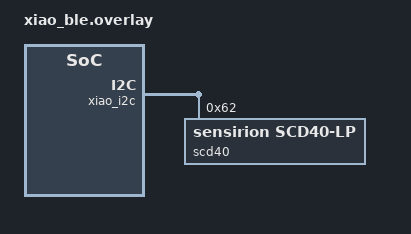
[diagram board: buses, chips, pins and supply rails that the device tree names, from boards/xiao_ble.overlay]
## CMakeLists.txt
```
# SPDX-License-Identifier: Apache-2.0

cmake_minimum_required(VERSION 3.20.0)
find_package(Zephyr REQUIRED HINTS $ENV{ZEPHYR_BASE})
project(kuuki_pod)

target_sources(app PRIVATE src/main.c)
```

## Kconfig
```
# kuuki-pod firmware project parameters (ticket 14b).
#
# SPDX-License-Identifier: Apache-2.0
#
# The Pod's product decisions — how often a Measurement is promoted to a Sample,
# and how far back the Buffer keeps Samples — live here, on the configuration
# surface, not inside the modules that happen to use them. The ring Buffer is
# handed a plain capacity derived from these (see src/app_config.h) and knows
# nothing about either.

menu "kuuki-pod"

config KUUKI_SAMPLE_INTERVAL_SEC
	int "Sample tick interval, seconds"
	default 900
	range 1 86400
	help
	  The Sample tick cadence: the Pod promotes one of the SCD40's
	  Measurements to a Sample this often. 900 (15 minutes) is the v1
	  cadence the webapp's Merge snaps slots to (CONTEXT.md), so changing it
	  changes what a slot means on the wire. The Buffer is resized to still
	  span KUUKI_RETENTION_SEC, which this must divide evenly — a build with
	  a leftover fails on a BUILD_ASSERT rather than quietly spanning less.

config KUUKI_RETENTION_SEC
	int "Buffer retention target, seconds"
	default 2592000
	range 1 31536000
	help
	  How far back the in-RAM Buffer keeps Samples before overwriting its
	  oldest. 2592000 (30 days) is the v1 target. Must be a whole number of
	  Sample intervals; the resulting ring costs 12 bytes of RAM per Sample,
	  paid once — a Sync streams straight out of the ring, with no second
	  copy of it.

endmenu

source "Kconfig.zephyr"
```

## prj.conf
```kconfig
# kuuki-pod application configuration (on-target build for xiao_ble).

CONFIG_LOG=y

# SCD40 sampling (ticket 05): I²C bus + the Sensirion SCD4x sensor driver.
# CONFIG_SCD4X defaults on once the devicetree has an enabled sensirion,scd40
# node (see boards/xiao_ble.overlay); enable the sensor subsystem it needs.
CONFIG_I2C=y
CONFIG_SENSOR=y

# The sampler runs a dedicated thread and names it for debugging.
CONFIG_THREAD_NAME=y
```

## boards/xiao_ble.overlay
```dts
/* SPDX-License-Identifier: Apache-2.0
 *
 * kuuki-pod hardware: an SCD40 wired to the XIAO's external I²C bus (xiao_i2c =
 * i2c1, pins D4/D5 = P0.04/P0.05). The sensor lives at the SCD4x's fixed I²C
 * address 0x62 and runs in low-power periodic mode (~30 s Measurement cadence),
 * per the v1 spec (ticket 05). ASC stays on and the temperature offset at its
 * default (ADR-0003) by omission: the SCD4x driver's init writes neither (they
 * are only touched via attr_set, which the firmware never calls), so the sensor
 * keeps its power-on defaults — ASC enabled, default offset.
 */

&xiao_i2c {
	status = "okay";

	scd40: scd40@62 {
		/* sensirion,scd40-lp (first) sources the properties and adds the
		 * `mode` selector the upstream binding lacks; sensirion,scd40
		 * (second) is what the SCD4x driver binds to. See the local
		 * binding dts/bindings/sensor/sensirion,scd40-lp.yaml. */
		compatible = "sensirion,scd40-lp", "sensirion,scd40";
		reg = <0x62>;
		mode = <1>; /* low-power periodic */
	};
};
```

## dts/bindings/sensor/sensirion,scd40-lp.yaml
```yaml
# SPDX-License-Identifier: Apache-2.0
#
# Supplementary binding for the SCD40. The upstream sensirion,scd40 binding
# omits the `mode` selector that its sibling sensirion,scd41 declares, even
# though the shared SCD4x driver reads `mode` for both (via DT_INST_ENUM_IDX_OR)
# — so upstream you can never select low-power periodic mode on an SCD40.
#
# We can't redeclare `sensirion,scd40` (edtlib forbids two i2c bindings for the
# same compatible), so the node lists this compatible *first* to source its
# properties (adding `mode`) and keeps `sensirion,scd40` so the driver still
# binds. Values match the driver's enum order.

description: Sensirion SCD40 with a selectable measurement mode (kuuki-pod local).

compatible: "sensirion,scd40-lp"

include: [sensor-device.yaml, i2c-device.yaml]

properties:
  mode:
    type: int
    required: true
    description: |
      - 0: Normal periodic measurement (~5 s Measurement cadence).
      - 1: Low-power periodic measurement (~30 s Measurement cadence).
      - 2: Single-shot measurement.
    enum:
      - 0
      - 1
      - 2
```

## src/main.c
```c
/*
 * kuuki-pod firmware — application entry point.
 *
 * SPDX-License-Identifier: Apache-2.0
 *
 * Boots the board, brings up BLE, and starts sampling: the Pod advertises its
 * open GATT service (Pod ID + Live reading, ticket 06) and logs the SCD40 into
 * the in-RAM Buffer at each Sample tick (ticket 05). The correctness-critical
 * logic (the Buffer's frozen iteration, the Sync record selection, the
 * Measurement→Sample scaling, the Live reading packing) is developed off-board
 * as pure modules under tests/, run on the host via native_sim. The Sample
 * interval and the Buffer's size are project parameters this layer owns
 * (app_config.h, ticket 14b) and passes down.
 */

#include <zephyr/kernel.h>
#include <zephyr/logging/log.h>

#include "app_config.h"
#include "ble.h"
#include "buffer.h"
#include "pod_id.h"
#include "sampler.h"

LOG_MODULE_REGISTER(kuuki_pod, LOG_LEVEL_INF);

/*
 * The Pod's single long-lived Buffer and the storage it rings over. The
 * application owns the array — its size is the retention decision (~30 days at
 * the configured Sample interval, ~34 KB), which is why it is derived here from
 * the project parameters and handed to the ring rather than baked into it.
 * Static (not on a stack): sampling fills it and Sync reads it for the lifetime
 * of the Pod. RAM-only by design — a reset costs at most the unsynced tail
 * (CONTEXT.md).
 *
 * It is the Retention target *plus* the Buffer's runway: the runway's slots are
 * reserved for the lock-free Sync reader (ADR-0005) and are not retention, so
 * paying 48 bytes for them keeps the ~30-day promise intact.
 */
static struct sample sample_storage[KUUKI_RETENTION_SAMPLES + BUFFER_RUNWAY];
static struct buffer sample_buffer;

/* The Buffer's precondition, checked where the ring is actually sized. It holds
 * transitively today (the Kconfig range forbids a zero-Sample retention target),
 * but a ring no longer than the runway has no live Samples at all and no runtime
 * check would catch it (ADR-0005). */
BUILD_ASSERT(ARRAY_SIZE(sample_storage) > BUFFER_RUNWAY,
	     "The Buffer's storage must be longer than its runway");

int main(void)
{
	LOG_INF("kuuki-pod booting");

	buffer_init(&sample_buffer, sample_storage, ARRAY_SIZE(sample_storage));

	/* Mint-or-load the Pod ID before BLE: the GATT service serves it. A
	 * failure here would advertise an unstable identity, so bail out. */
	int err = pod_id_init();
	if (err) {
		LOG_ERR("Pod ID init failed (%d); not advertising", err);
		return 0;
	}

	err = ble_start(&sample_buffer);
	if (err) {
		LOG_ERR("BLE failed to start (%d)", err);
	}

	err = sampler_start(&sample_buffer, CONFIG_KUUKI_SAMPLE_INTERVAL_SEC);
	if (err) {
		LOG_ERR("Sampler failed to start (%d)", err);
	}

	return 0;
}
```

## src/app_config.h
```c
/*
 * The Retention target in Samples, derived from the firmware's project parameters.
 *
 * SPDX-License-Identifier: Apache-2.0
 *
 * The Sample tick cadence and the Buffer's retention target are product
 * decisions, configured in Kconfig (see ../Kconfig) as
 * CONFIG_KUUKI_SAMPLE_INTERVAL_SEC and CONFIG_KUUKI_RETENTION_SEC. This header
 * is the one place the Retention target is turned into a Sample count, and the
 * application layer is the only layer that reads it: main.c sizes the Buffer's
 * backing array from it (plus the ring's runway), while the modules below it
 * take the interval and the ring's capacity as parameters (CONTEXT.md's Sample
 * tick and Buffer). The tick also has to keep the lock-free Buffer's safety
 * margin intact, which is the second assertion below.
 */

#ifndef KUUKI_APP_CONFIG_H
#define KUUKI_APP_CONFIG_H

#include <zephyr/toolchain.h>

#include "buffer.h"

/*
 * How many Samples the Retention target spans, *derived* from the configured
 * parameters — never a hard-coded Sample count. Changing the Sample interval
 * resizes the ring so it still spans the target. Deliberately not the ring's
 * capacity: the backing array is this plus BUFFER_RUNWAY, whose slots are
 * reserved for the lock-free Sync reader and are not retention.
 */
#define KUUKI_RETENTION_SAMPLES \
	(CONFIG_KUUKI_RETENTION_SEC / CONFIG_KUUKI_SAMPLE_INTERVAL_SEC)

/* An interval that does not divide the retention target would leave the ring
 * spanning less time than configured — the derivation quietly floors. */
BUILD_ASSERT(CONFIG_KUUKI_RETENTION_SEC % CONFIG_KUUKI_SAMPLE_INTERVAL_SEC == 0,
	     "Retention target must be a whole number of Sample intervals");

/* A Sync reads the ring lock-free behind BUFFER_RUNWAY reserved slots, which
 * buys `runway × Sample interval` of tolerance for a stalled consumer; a stalled
 * BLE link is torn down by the supervision timeout, whose Bluetooth Core-spec
 * ceiling is 32 s. Nothing checks the margin at runtime — by design, since it is
 * unreachable at any sane cadence (ADR-0005) — but the Kconfig range permits
 * ticks short enough to collapse it, and a short tick paired with a shortened
 * retention target is a plausible bench build. Hold the budget at 10x the
 * ceiling, which the v1 cadence clears by 11x. */
BUILD_ASSERT(BUFFER_RUNWAY * CONFIG_KUUKI_SAMPLE_INTERVAL_SEC >= 10 * 32,
	     "Sample tick too short: the Buffer runway's stall budget must stay "
	     "10x above the 32 s BLE supervision-timeout ceiling (ADR-0005)");

#endif /* KUUKI_APP_CONFIG_H */
```

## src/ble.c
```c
/*
 * BLE advertising + custom GATT service — implementation.
 *
 * SPDX-License-Identifier: Apache-2.0
 *
 * See ble.h for the contract. This is the hardware-facing seam: the Bluetooth
 * stack, GATT attribute plumbing, and advertising live here and are verified on
 * device with a generic BLE client. The correctness-critical byte packing is
 * delegated to live_encode() (host-tested); nothing subtle lives on this side.
 */

#include <string.h>

#include <zephyr/bluetooth/att.h>
#include <zephyr/bluetooth/bluetooth.h>
#include <zephyr/bluetooth/conn.h>
#include <zephyr/bluetooth/gatt.h>
#include <zephyr/bluetooth/uuid.h>
#include <zephyr/kernel.h>
#include <zephyr/logging/log.h>
#include <zephyr/sys/byteorder.h>
#include <zephyr/sys/util.h>

#include "ble.h"
#include "buffer.h"
#include "live.h"
#include "pod_id.h"
#include "sync.h"

LOG_MODULE_REGISTER(ble, LOG_LEVEL_INF);

/*
 * Custom 128-bit UUIDs. The base spells "kuuki-pod" in ASCII (4b 75 75 6b =
 * "Kuuk", 69 2d = "i-", 70 6f = "po", 64 = "d") so it is recognisable in a
 * generic client; the trailing 16-bit field selects the service and each
 * characteristic. 0x0004 is the Sync control (client writes its High-water mark
 * to begin a Sync); 0x0005 is the Sync data stream (records notified back).
 */
#define KUUKI_SVC_UUID_VAL \
	BT_UUID_128_ENCODE(0x4b75756b, 0x692d, 0x706f, 0x6400, 0x000000000001)
#define KUUKI_POD_ID_UUID_VAL \
	BT_UUID_128_ENCODE(0x4b75756b, 0x692d, 0x706f, 0x6400, 0x000000000002)
#define KUUKI_LIVE_UUID_VAL \
	BT_UUID_128_ENCODE(0x4b75756b, 0x692d, 0x706f, 0x6400, 0x000000000003)
#define KUUKI_SYNC_CTRL_UUID_VAL \
	BT_UUID_128_ENCODE(0x4b75756b, 0x692d, 0x706f, 0x6400, 0x000000000004)
#define KUUKI_SYNC_DATA_UUID_VAL \
	BT_UUID_128_ENCODE(0x4b75756b, 0x692d, 0x706f, 0x6400, 0x000000000005)

static const struct bt_uuid_128 kuuki_svc_uuid = BT_UUID_INIT_128(KUUKI_SVC_UUID_VAL);
static const struct bt_uuid_128 pod_id_uuid = BT_UUID_INIT_128(KUUKI_POD_ID_UUID_VAL);
static const struct bt_uuid_128 live_uuid = BT_UUID_INIT_128(KUUKI_LIVE_UUID_VAL);
static const struct bt_uuid_128 sync_ctrl_uuid = BT_UUID_INIT_128(KUUKI_SYNC_CTRL_UUID_VAL);
static const struct bt_uuid_128 sync_data_uuid = BT_UUID_INIT_128(KUUKI_SYNC_DATA_UUID_VAL);

/* The most recent Live reading, kept encoded and ready to serve on a read or
 * notify. Seeded all-zero until the first Measurement is published: co2 == 0 is
 * the wire contract's "no Measurement yet" sentinel, so a client that reads in
 * the ~30 s before the first Measurement sees "not available" rather than a
 * bogus 0-ppm reading (docs/wire-contract.md, Live reading characteristic). */
static uint8_t live_value[LIVE_READING_SIZE];

/* Whether a client has subscribed to Live reading notifications. */
static bool live_notify_enabled;

/*
 * Sync (ticket 07) state. The Buffer is borrowed from the application for the
 * Pod's lifetime and read lock-free: a Sync freezes the ring's write head once
 * and walks what was there, behind the runway that keeps the sampler off the
 * reader's slot (ADR-0005).
 */
static struct buffer *sync_buffer;

/* Whether a client has subscribed to Sync data notifications. */
static bool sync_notify_enabled;

/*
 * The pending Sync's High-water mark, published by the Sync control write and
 * consumed by the sync thread. Unlocked: one aligned 32-bit word has nothing to
 * tear, and the semaphore below orders the handoff — the compiler can neither
 * sink the store past k_sem_give() nor hoist the load above k_sem_take(), and
 * on this single core the compiler is the only reordering adversary (ADR-0005).
 * A second control write racing the consumer simply wins, and a client Syncs
 * one batch at a time anyway.
 */
static uint32_t sync_mark;

/* Signals the sync thread that a Sync control write is pending. */
static K_SEM_DEFINE(sync_pending, 0, 1);

/*
 * The one active connection (CONFIG_BT_MAX_CONN == 1), ref-held between connect
 * and disconnect. The sync thread needs it for the negotiated MTU and as the
 * notify target; tracking it lets a mid-Sync disconnect abort the stream.
 */
static struct bt_conn *active_conn;

/*
 * Payload for one Sync notification, owned solely by the sync thread. Records
 * are encoded into it straight off the Buffer iterator — there is no scratch
 * copy of the batch. Static, not on the thread stack; sized for the largest
 * configured notification so a runtime MTU (never larger) always fits.
 */
static uint8_t ntf_payload[CONFIG_BT_L2CAP_TX_MTU - ATT_NTF_OVERHEAD];

static ssize_t read_pod_id(struct bt_conn *conn, const struct bt_gatt_attr *attr,
			   void *buf, uint16_t len, uint16_t offset)
{
	uint8_t id[POD_ID_LEN];

	pod_id_get(id);
	return bt_gatt_attr_read(conn, attr, buf, len, offset, id, sizeof(id));
}

static ssize_t read_live(struct bt_conn *conn, const struct bt_gatt_attr *attr,
			 void *buf, uint16_t len, uint16_t offset)
{
	return bt_gatt_attr_read(conn, attr, buf, len, offset, live_value,
				 sizeof(live_value));
}

static void live_ccc_changed(const struct bt_gatt_attr *attr, uint16_t value)
{
	live_notify_enabled = (value == BT_GATT_CCC_NOTIFY);
	LOG_INF("Live reading notifications %s",
		live_notify_enabled ? "enabled" : "disabled");
}

/*
 * A client begins a Sync by writing its High-water mark (a 4-byte Age, or the
 * sentinel) to the Sync control characteristic. We publish the mark and wake the
 * sync thread, which freezes the batch, latches its read instant and streams it
 * straight out of the ring. The write returns immediately; the potentially long
 * notify stream runs off this thread.
 */
static ssize_t write_sync_control(struct bt_conn *conn, const struct bt_gatt_attr *attr,
				  const void *buf, uint16_t len, uint16_t offset,
				  uint8_t flags)
{
	ARG_UNUSED(conn);
	ARG_UNUSED(attr);
	ARG_UNUSED(flags);

	if (offset != 0) {
		return BT_GATT_ERR(BT_ATT_ERR_INVALID_OFFSET);
	}
	if (len != sizeof(uint32_t)) {
		return BT_GATT_ERR(BT_ATT_ERR_INVALID_ATTRIBUTE_LEN);
	}

	sync_mark = sys_get_le32(buf);

	k_sem_give(&sync_pending);

	return len;
}

static void sync_ccc_changed(const struct bt_gatt_attr *attr, uint16_t value)
{
	ARG_UNUSED(attr);

	sync_notify_enabled = (value == BT_GATT_CCC_NOTIFY);
	LOG_INF("Sync data notifications %s",
		sync_notify_enabled ? "enabled" : "disabled");
}

/*
 * The single custom service. Attribute order is fixed by this macro. Two value
 * attributes are referenced by handle for bt_gatt_notify():
 *   [0] service        [1] Pod ID decl    [2] Pod ID value
 *   [3] Live decl      [4] Live value     [5] Live CCC
 *   [6] Sync ctrl decl [7] Sync ctrl val  [8] Sync data decl
 *   [9] Sync data val  [10] Sync data CCC
 * Live value is index 4, Sync data value is index 9.
 */
BT_GATT_SERVICE_DEFINE(kuuki_svc,
	BT_GATT_PRIMARY_SERVICE(&kuuki_svc_uuid),
	BT_GATT_CHARACTERISTIC(&pod_id_uuid.uuid, BT_GATT_CHRC_READ,
			       BT_GATT_PERM_READ, read_pod_id, NULL, NULL),
	BT_GATT_CHARACTERISTIC(&live_uuid.uuid,
			       BT_GATT_CHRC_READ | BT_GATT_CHRC_NOTIFY,
			       BT_GATT_PERM_READ, read_live, NULL, NULL),
	BT_GATT_CCC(live_ccc_changed, BT_GATT_PERM_READ | BT_GATT_PERM_WRITE),
	BT_GATT_CHARACTERISTIC(&sync_ctrl_uuid.uuid, BT_GATT_CHRC_WRITE,
			       BT_GATT_PERM_WRITE, NULL, write_sync_control, NULL),
	BT_GATT_CHARACTERISTIC(&sync_data_uuid.uuid, BT_GATT_CHRC_NOTIFY,
			       BT_GATT_PERM_NONE, NULL, NULL, NULL),
	BT_GATT_CCC(sync_ccc_changed, BT_GATT_PERM_READ | BT_GATT_PERM_WRITE),
);

#define LIVE_VALUE_ATTR (&kuuki_svc.attrs[4])
#define SYNC_DATA_VALUE_ATTR (&kuuki_svc.attrs[9])

/* Name in the advertising data; the 128-bit service UUID (16 bytes) goes in the
 * scan response, where it fits alongside without crowding the 31-byte AD. */
static const struct bt_data ad[] = {
	BT_DATA_BYTES(BT_DATA_FLAGS, (BT_LE_AD_GENERAL | BT_LE_AD_NO_BREDR)),
	BT_DATA(BT_DATA_NAME_COMPLETE, CONFIG_BT_DEVICE_NAME,
		sizeof(CONFIG_BT_DEVICE_NAME) - 1),
};

static const struct bt_data sd[] = {
	BT_DATA_BYTES(BT_DATA_UUID128_ALL, KUUKI_SVC_UUID_VAL),
};

/*
 * Connectable advertising at the slow interval (1.28–1.92 s): the Pod is always
 * reachable but sips power between adverts, matching the overnight-glance use
 * case. Open — no bonding, no privacy (v1 GATT is open, per the spec).
 */
static const struct bt_le_adv_param adv_param = BT_LE_ADV_PARAM_INIT(
	BT_LE_ADV_OPT_CONN, BT_GAP_ADV_SLOW_INT_MIN, BT_GAP_ADV_SLOW_INT_MAX, NULL);

static int start_advertising(void)
{
	return bt_le_adv_start(&adv_param, ad, ARRAY_SIZE(ad), sd, ARRAY_SIZE(sd));
}

static void advertise_work_handler(struct k_work *work)
{
	ARG_UNUSED(work);

	int err = start_advertising();
	if (err) {
		LOG_ERR("Advertising failed to resume (%d)", err);
	}
}

static K_WORK_DEFINE(advertise_work, advertise_work_handler);

/*
 * Connectable advertising stops the instant a client connects, so on disconnect
 * we restart it — otherwise the Pod goes silent after its first Sync and is
 * never reachable again. This is what keeps it "connectable any time" (ticket
 * 06) across repeated visits from one or several clients.
 *
 * The restart is deferred to the system workqueue rather than run inline: the
 * disconnected connection object is not recycled until this callback returns, so
 * starting a connectable advertiser here races it and fails with -ENOMEM.
 */
static void on_disconnected(struct bt_conn *conn, uint8_t reason)
{
	/* Drop our reference so a sync thread that snapshotted the connection
	 * sees it go away and aborts a mid-Sync stream (which the next Sync's
	 * advanced High-water mark re-fetches, ADR-0002). */
	if (active_conn == conn) {
		bt_conn_unref(active_conn);
		active_conn = NULL;
	}

	LOG_INF("Disconnected (reason 0x%02x); resuming advertising", reason);
	k_work_submit(&advertise_work);
}

static void on_connected(struct bt_conn *conn, uint8_t err)
{
	if (err) {
		LOG_WRN("Connection failed (0x%02x)", err);
		return;
	}

	active_conn = bt_conn_ref(conn);
	LOG_INF("Connected");
}

BT_CONN_CB_DEFINE(conn_callbacks) = {
	.connected = on_connected,
	.disconnected = on_disconnected,
};

#define SYNC_STACK_SIZE 2048
#define SYNC_PRIORITY   7

static K_THREAD_STACK_DEFINE(sync_stack, SYNC_STACK_SIZE);
static struct k_thread sync_thread;

/*
 * Send one Sync data notification, blocking until the stack accepts it. GATT TX
 * buffers are a small pool, so a burst of notifications transiently exhausts it
 * (-ENOMEM); we back off and retry rather than drop records. Any other error —
 * notably the connection dropping — ends the stream: the batch is left
 * unterminated (no end-of-batch marker), which is exactly the client's
 * "incomplete Sync" signal (docs/wire-contract.md). len == 0 sends the
 * end-of-batch marker itself.
 */
static int sync_notify(struct bt_conn *conn, const void *data, uint16_t len)
{
	int err;

	while ((err = bt_gatt_notify(conn, SYNC_DATA_VALUE_ATTR, data, len)) == -ENOMEM) {
		k_sleep(K_MSEC(10));
	}
	return err;
}

/*
 * Send the `packed` records sitting in ntf_payload as one notification and add
 * them to *sent. Returns false if the stream died: the batch is then left
 * unterminated, which is exactly the client's "incomplete Sync" signal.
 */
static bool flush_records(struct bt_conn *conn, size_t packed, size_t *sent)
{
	if (sync_notify(conn, ntf_payload, packed * RECORD_SIZE)) {
		LOG_WRN("Sync stream interrupted after %zu records; "
			"next Sync self-heals", *sent);
		return false;
	}

	*sent += packed;
	return true;
}

/*
 * Drain a Sync into notifications and stream them oldest-first over conn,
 * packing as many whole records per notification as the negotiated MTU allows,
 * then send the zero-length end-of-batch marker. The iterator may yield nothing
 * — an up-to-date client gets only the marker (a valid, empty Sync). Which
 * records it yields is entirely sync_iter's business; this only chunks them.
 */
static void stream_batch(struct bt_conn *conn, struct sync_iter *records)
{
	uint16_t mtu = bt_gatt_get_mtu(conn);
	size_t per_ntf = sync_records_per_notification(mtu);

	if (per_ntf == 0) {
		LOG_WRN("Negotiated MTU %u too small for a Sync record; aborting", mtu);
		return;
	}

	size_t sent = 0;
	size_t packed = 0;
	struct sync_record r;

	while (sync_iter_next(records, &r)) {
		sync_encode_record(&r, &ntf_payload[packed * RECORD_SIZE]);

		/* Only the last notification of a batch may be short. */
		if (++packed < per_ntf) {
			continue;
		}
		if (!flush_records(conn, packed, &sent)) {
			return;
		}
		packed = 0;
	}

	if (packed > 0 && !flush_records(conn, packed, &sent)) {
		return;
	}

	if (sync_notify(conn, ntf_payload, 0)) {
		LOG_WRN("Sync end-of-batch marker not delivered; next Sync self-heals");
		return;
	}

	LOG_INF("Sync complete: %zu records streamed", sent);
}

static void sync_thread_run(void *p1, void *p2, void *p3)
{
	ARG_UNUSED(p1);
	ARG_UNUSED(p2);
	ARG_UNUSED(p3);

	for (;;) {
		k_sem_take(&sync_pending, K_FOREVER);

		if (!sync_notify_enabled) {
			LOG_WRN("Sync control written without subscribing to Sync "
				"data; nothing to stream to");
			continue;
		}

		/* Take our own reference to the connection under the scheduler
		 * lock, so the disconnect callback cannot free it mid-grab; the
		 * ref then keeps the connection alive even if the link drops
		 * mid-stream. */
		k_sched_lock();
		struct bt_conn *conn = active_conn ? bt_conn_ref(active_conn) : NULL;
		k_sched_unlock();

		if (!conn) {
			continue;
		}

		/* Freeze the batch, then latch, then wrap up — in that order,
		 * which is why all three sit here rather than inside sync.c.
		 * buffer_iter_init() fixes which Samples this Sync contains with
		 * one acquire load; the monotonic clock read that follows is
		 * therefore at or after every capture time in the batch, so the
		 * unsigned Age subtraction cannot wrap. A Sample tick landing
		 * from here on is simply outside the frozen batch and lands in
		 * the next Sync. No lock is taken and none is needed: the
		 * runway keeps the sampler off the slot we are reading
		 * (ADR-0005). */
		struct buffer_iter frozen;
		buffer_iter_init(&frozen, sync_buffer);
		uint32_t latch_uptime = (uint32_t)(k_uptime_get() / 1000);
		struct sync_iter records;
		sync_iter_init(&records, &frozen, latch_uptime, sync_mark,
			       CONFIG_KUUKI_SAMPLE_INTERVAL_SEC);

		stream_batch(conn, &records);
		bt_conn_unref(conn);
	}
}

void ble_live_update(const struct sample *s)
{
	live_encode(s, live_value);

	if (live_notify_enabled) {
		bt_gatt_notify(NULL, LIVE_VALUE_ATTR, live_value,
			       sizeof(live_value));
	}
}

int ble_start(struct buffer *buf)
{
	sync_buffer = buf;

	int err = bt_enable(NULL);
	if (err) {
		LOG_ERR("bt_enable failed (%d)", err);
		return err;
	}

	/* The sync thread streams a Sync off the BLE RX path: the Sync control
	 * write only publishes the mark and signals, so a long stream never
	 * blocks it. */
	k_thread_create(&sync_thread, sync_stack, SYNC_STACK_SIZE, sync_thread_run,
			NULL, NULL, NULL, SYNC_PRIORITY, 0, K_NO_WAIT);
	k_thread_name_set(&sync_thread, "ble_sync");

	err = start_advertising();
	if (err) {
		LOG_ERR("Advertising failed to start (%d)", err);
		return err;
	}

	LOG_INF("Advertising started; Pod is connectable");
	return 0;
}
```

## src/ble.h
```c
/*
 * The Pod's BLE presence: advertising + the single custom GATT service.
 *
 * SPDX-License-Identifier: Apache-2.0
 *
 * Ticket 06 makes the Pod discoverable and glanceable without a Sync: it
 * advertises continuously at a slow interval, is connectable at any time (open,
 * no bonding), and hosts one custom service exposing the stable Pod ID and the
 * Live reading (the most recent Measurement). The Sync control + Sync data
 * characteristics land on this same service in ticket 07. This is BLE plumbing —
 * hardware-verified, not host-tested; the pure byte packing it delegates to
 * (live_encode(), ticket 06) is the tested seam. Vocabulary (Pod ID, Live
 * reading, Sync) follows CONTEXT.md.
 */

#ifndef KUUKI_BLE_H
#define KUUKI_BLE_H

struct sample;
struct buffer;

/*
 * Bring up Bluetooth and start advertising the Pod's service. Requires the Pod
 * ID to be initialised first (pod_id_init()), since the service serves it.
 *
 * buf is the Pod's Buffer, streamed to a client on a Sync (ticket 07); it must
 * outlive the Pod (it is the application's single long-lived Buffer). No lock
 * comes with it: a Sync reads the ring lock-free behind its runway (ADR-0005).
 * Returns 0 once advertising is running, or a negative errno on failure.
 */
int ble_start(struct buffer *buf);

/*
 * Publish s as the current Live reading: update the readable characteristic
 * value and notify any subscribed client. Safe to call before a client connects
 * (the value is simply cached for the next read). Only the Measurement fields of
 * s are used; capture_uptime is ignored (a Live reading is always "now").
 */
void ble_live_update(const struct sample *s);

#endif /* KUUKI_BLE_H */
```

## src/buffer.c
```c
/*
 * In-RAM ring Buffer — implementation.
 *
 * SPDX-License-Identifier: Apache-2.0
 *
 * See buffer.h for the contract. Kept free of BLE/I²C so the whole module runs
 * under host ztests — including free of Zephyr and <stdatomic.h>: the two places
 * that need ordering use the compiler's __atomic builtins directly rather than
 * changing the write head's declared type, so both host suites keep compiling
 * this file straight into their binaries.
 */

#include "buffer.h"

void buffer_init(struct buffer *buf, struct sample *storage, size_t capacity)
{
	buf->samples = storage;
	buf->capacity = capacity;
	buf->written = 0;
}

void buffer_put(struct buffer *buf, const struct sample *s)
{
	buf->samples[buf->written % buf->capacity] = *s;

	/* Publish the slot with a release store: it pairs with the acquire load
	 * in buffer_iter_init(), and it is what stops the compiler sinking the
	 * write above past this increment, where a concurrent reader could see
	 * the count without the Sample (ADR-0005). Only this producer writes the
	 * head, so reading it plainly above is safe.
	 *
	 * The head only ever climbs: once it has come round onto the oldest
	 * Sample, the next put() overwrites it — the ring keeps the most
	 * recent `capacity`. */
	__atomic_store_n(&buf->written, buf->written + 1, __ATOMIC_RELEASE);
}

void buffer_iter_init(struct buffer_iter *it, const struct buffer *buf)
{
	/* The one atomic operation of the whole walk. Acquiring here is what
	 * makes every Sample below the frozen head fully visible. */
	uint32_t end = __atomic_load_n(&buf->written, __ATOMIC_ACQUIRE);

	/* Both positions derive from that one count, so they cannot disagree:
	 * the ring holds every write until it fills and its usable depth after,
	 * and the oldest live Sample sits that many writes behind the frozen
	 * head. Usable depth stops BUFFER_RUNWAY slots short of the head so the
	 * producer cannot reach the reader's slot before the walk ends. */
	size_t usable = buf->capacity - BUFFER_RUNWAY;
	size_t live = end < usable ? end : usable;

	it->buf = buf;
	it->next = end - (uint32_t)live;
	it->end = end;
}

bool buffer_iter_next(struct buffer_iter *it, struct sample *out)
{
	if (it->next == it->end) {
		return false;
	}

	*out = it->buf->samples[it->next % it->buf->capacity];
	it->next++;
	return true;
}
```

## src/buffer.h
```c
/*
 * In-RAM ring Buffer of Samples.
 *
 * SPDX-License-Identifier: Apache-2.0
 *
 * This is a correctness-critical, hardware-free module: no BLE, no I²C. The
 * Buffer holds the most recent Samples (overwriting the oldest on overflow) and
 * hands them back one at a time through an iterator that freezes the ring's end
 * at init, entirely as a function of its inputs, so the whole module is
 * exercised by host ztests (see tests/buffer/). It is a dumb ring: how many
 * Samples that is (a retention decision — see ../Kconfig and app_config.h),
 * which of them a given client still needs, and how they are framed on the wire
 * are all somebody else's business (see sync.h) — including their Age, which is
 * a property of a Sample as seen by one Sync, not of a buffered one. Vocabulary
 * (Sample, Buffer) follows CONTEXT.md.
 *
 * A Sample is published by the producer and read by one concurrent consumer
 * with no lock: the reader freezes the write head with a single acquire load and
 * then walks plain indices behind a reserved runway of slots the producer cannot
 * have reached. See docs/adr/0005-lock-free-buffer-with-runway.md — the runway
 * has no runtime partner to find, and deleting it as unused re-introduces a data
 * race no test will catch.
 */

#ifndef KUUKI_BUFFER_H
#define KUUKI_BUFFER_H

#include <stdbool.h>
#include <stddef.h>
#include <stdint.h>

/*
 * Physical slots the ring reserves ahead of the write head: the Samples an
 * iterator considers live stop this many slots short of it, so the producer
 * cannot overwrite a slot the reader has yet to reach. Owned by the Buffer
 * rather than passed in — it is a property of the lock-free mechanism, and no
 * caller has a basis on which to choose it. It buys `runway × Sample interval`
 * of consumer-stall tolerance; ADR-0005 derives the number and app_config.h
 * asserts the Pod's cadence keeps clearing it.
 */
#define BUFFER_RUNWAY 6

/*
 * One buffered Sample: a Measurement promoted at a Sample tick, plus the device
 * capture time needed to place it on a wall clock later. capture_uptime is the
 * Pod's monotonic uptime in seconds; the Pod has no notion of wall-clock time.
 */
struct sample {
	uint32_t capture_uptime; /* monotonic uptime at capture, seconds */
	uint16_t co2;            /* ppm */
	int16_t  temp;           /* centi-°C */
	uint16_t humidity;       /* centi-%RH */
};

/*
 * The in-RAM ring Buffer over `capacity` slots of caller-provided storage; once
 * full, buffer_put() overwrites the oldest Sample. Fields are internal — tests
 * must exercise behaviour through the functions below, never this layout.
 *
 * Its position is one monotonic count of Samples ever written — the write head
 * — never a write-index / stored-count pair, so the two can never disagree
 * about where the ring starts. The count is a fixed 32 bits rather than a
 * size_t so the ring behaves identically on the 32-bit device and in the host
 * test build; it wraps after 2^32 writes, which is over a century even if a
 * Sample were written every second.
 */
struct buffer {
	struct sample *samples; /* borrowed storage, `capacity` Samples long */
	size_t capacity;        /* slots in `samples`, > BUFFER_RUNWAY */
	uint32_t written;       /* Samples ever written — the write head */
};

/*
 * A frozen walk over the Samples the Buffer held at the moment it was created.
 * Fields are internal; drive it with buffer_iter_next().
 */
struct buffer_iter {
	const struct buffer *buf;
	uint32_t next; /* write-head position of the next Sample to yield */
	uint32_t end;  /* the write head, frozen at init */
};

/*
 * Reset a Buffer to empty over `capacity` Samples of caller-provided storage.
 *
 * The Buffer borrows `storage` for its whole lifetime — the application owns it
 * (main.c holds the Pod's single long-lived array) and sizes it from the
 * project's retention parameters plus BUFFER_RUNWAY, so the ring itself needs no
 * compile-time size and a test can pick its own.
 *
 * Precondition: capacity > BUFFER_RUNWAY. A ring no longer than the runway has
 * no live Samples at all.
 */
void buffer_init(struct buffer *buf, struct sample *storage, size_t capacity);

/* Append a Sample, overwriting the oldest one when the ring is full. */
void buffer_put(struct buffer *buf, const struct sample *s);

/*
 * Freeze the Buffer's end and start walking what it holds, oldest-first.
 *
 * The write head is read once, here; every subsequent step is plain indexing
 * against that fixed bound, so a Sample put after this call is never yielded and
 * the batch cannot grow under the reader mid-walk. That is also what lets a
 * caller read its Latched read instant *after* this call and know no Sample in
 * the walk was captured later (sync.h).
 *
 * The walk covers at most `capacity − BUFFER_RUNWAY` Samples: the runway's slots
 * behind the write head are given up so the producer cannot catch the reader.
 */
void buffer_iter_init(struct buffer_iter *it, const struct buffer *buf);

/*
 * Copy the next Sample into *out and advance, or return false when the frozen
 * walk is exhausted (*out untouched).
 */
bool buffer_iter_next(struct buffer_iter *it, struct sample *out);

#endif /* KUUKI_BUFFER_H */
```

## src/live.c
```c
/*
 * Live reading encoding — implementation.
 *
 * SPDX-License-Identifier: Apache-2.0
 *
 * See live.h for the contract. Pure byte packing over a struct sample: no BLE,
 * no sensor subsystem, so the whole module runs under host ztests. Little-endian
 * to match docs/wire-contract.md and Web Bluetooth's natural DataView reads.
 */

#include <zephyr/sys/byteorder.h>

#include "live.h"

void live_encode(const struct sample *s, uint8_t out[LIVE_READING_SIZE])
{
	sys_put_le16(s->co2, &out[0]);
	sys_put_le16((uint16_t)s->temp, &out[2]);
	sys_put_le16(s->humidity, &out[4]);
}
```

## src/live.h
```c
/*
 * Encode a Measurement into the Live reading characteristic's bytes — the pure,
 * hardware-free seam behind the BLE Live reading (ticket 06).
 *
 * SPDX-License-Identifier: Apache-2.0
 *
 * The Live reading is the Pod's most recent Measurement (CO₂/temp/humidity),
 * exposed as its own BLE characteristic so a client sees "right now" the instant
 * it connects, without touching the Sync stream (CONTEXT.md). Its on-wire bytes
 * are the Sync record's three measurement fields, minus the Age — the "Live
 * reading characteristic" section of docs/wire-contract.md is the single source
 * of truth for their widths and little-endian order. This one place does that
 * packing, kept free of BLE so host ztests exercise it (see tests/live/).
 */

#ifndef KUUKI_LIVE_H
#define KUUKI_LIVE_H

#include <stdint.h>

#include "buffer.h"

/*
 * Live reading payload width, bytes: co2 (uint16) + temp (int16) + humidity
 * (uint16), packed back-to-back, no padding. The Sync record (RECORD_SIZE = 10)
 * minus its 4-byte age.
 */
#define LIVE_READING_SIZE 6

/*
 * Pack a Sample's Measurement fields into the Live reading's 6 bytes,
 * little-endian: co2 at offset 0, temp at 2, humidity at 4. capture_uptime is
 * not part of the Live reading (it carries no Age — it is always "now").
 */
void live_encode(const struct sample *s, uint8_t out[LIVE_READING_SIZE]);

#endif /* KUUKI_LIVE_H */
```

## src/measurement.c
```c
/*
 * Measurement → Sample scaling — implementation.
 *
 * SPDX-License-Identifier: Apache-2.0
 *
 * See measurement.h for the contract. Kept free of I²C and the sensor
 * subsystem (only the two int32 fields of struct sensor_value are read) so the
 * whole module runs under host ztests.
 */

#include <zephyr/drivers/sensor.h>

#include "measurement.h"

/* Saturating narrow of a scaled value into each Sample field's width, so an
 * out-of-range Measurement clamps rather than wrapping into a bogus reading. */
static uint16_t saturate_u16(int32_t v)
{
	if (v < 0) {
		return 0;
	}
	if (v > UINT16_MAX) {
		return UINT16_MAX;
	}
	return (uint16_t)v;
}

static int16_t saturate_i16(int32_t v)
{
	if (v < INT16_MIN) {
		return INT16_MIN;
	}
	if (v > INT16_MAX) {
		return INT16_MAX;
	}
	return (int16_t)v;
}

/* Scale a sensor_value (val1 whole units, val2 millionths) to hundredths.
 * Truncates toward zero; for a negative reading the driver makes both parts
 * negative, so the sign is preserved. */
static int32_t to_centi(const struct sensor_value *v)
{
	return v->val1 * 100 + v->val2 / 10000;
}

struct sample measurement_to_sample(uint32_t capture_uptime,
				    const struct sensor_value *co2,
				    const struct sensor_value *temp,
				    const struct sensor_value *humidity)
{
	return (struct sample){
		.capture_uptime = capture_uptime,
		.co2 = saturate_u16(co2->val1),
		.temp = saturate_i16(to_centi(temp)),
		.humidity = saturate_u16(to_centi(humidity)),
	};
}
```

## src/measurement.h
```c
/*
 * Promote an SCD40 Measurement to a stored Sample — the pure, hardware-free
 * scaling seam.
 *
 * SPDX-License-Identifier: Apache-2.0
 *
 * The SCD40 driver reports each channel as a struct sensor_value (val1 = whole
 * units, val2 = millionths). The Buffer stores each Sample in compact integer
 * units matching the Sync wire contract (docs/wire-contract.md): CO₂ in ppm,
 * temperature in centi-°C (signed), humidity in centi-%RH. This module is the
 * one place that conversion happens, kept free of I²C and the sensor subsystem
 * so it is exercised by host ztests (see tests/measurement/). Vocabulary
 * (Measurement, Sample) follows CONTEXT.md.
 */

#ifndef KUUKI_MEASUREMENT_H
#define KUUKI_MEASUREMENT_H

#include <stdint.h>

#include "buffer.h"

/* Forward declaration: only the two int32 fields of struct sensor_value are
 * used, so callers need not pull in the whole sensor subsystem here. */
struct sensor_value;

/*
 * Build one Sample from an SCD40 Measurement captured at capture_uptime
 * (monotonic uptime, seconds). Each channel is scaled to the Buffer's integer
 * units and saturated to its field width, so an out-of-range Measurement stores
 * a clamped Sample rather than a wrapped-around bogus value:
 *   co2      → ppm         (uint16, saturating)
 *   temp     → centi-°C    (int16, saturating; e.g. 21.43 °C → 2143)
 *   humidity → centi-%RH   (uint16, saturating)
 */
struct sample measurement_to_sample(uint32_t capture_uptime,
				    const struct sensor_value *co2,
				    const struct sensor_value *temp,
				    const struct sensor_value *humidity);

#endif /* KUUKI_MEASUREMENT_H */
```

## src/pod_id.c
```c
/*
 * Pod ID — implementation.
 *
 * SPDX-License-Identifier: Apache-2.0
 *
 * See pod_id.h for the contract. This is the hardware-facing seam (flash via the
 * settings subsystem, the hardware RNG), so — like the BLE plumbing — it is
 * verified on device, not under host ztests: "does it survive a reset unchanged"
 * is a property of real flash, not pure logic.
 *
 * The ID is stored under the settings key "kuuki/pod_id". On boot the caller
 * runs the settings load, which invokes pod_id_set() to restore a persisted ID;
 * pod_id_init() then mints one only if none was restored.
 */

#include <string.h>

#include <zephyr/kernel.h>
#include <zephyr/logging/log.h>
#include <zephyr/random/random.h>
#include <zephyr/settings/settings.h>

#include "pod_id.h"

LOG_MODULE_REGISTER(pod_id, LOG_LEVEL_INF);

#define POD_ID_SETTINGS_KEY "kuuki/pod_id"

static uint8_t pod_id[POD_ID_LEN];
static bool loaded; /* set once a valid ID is restored from flash or minted */

/* settings h_set: restore the persisted ID when settings_load walks "kuuki". */
static int pod_id_set(const char *name, size_t len, settings_read_cb read_cb,
		      void *cb_arg)
{
	if (!settings_name_steq(name, "pod_id", NULL)) {
		return -ENOENT;
	}

	if (len != POD_ID_LEN) {
		/* A stored ID of the wrong width is corrupt; ignore it so
		 * pod_id_init() mints a fresh one rather than serve garbage. */
		LOG_WRN("Stored Pod ID has wrong length (%u); reminting", len);
		return -EINVAL;
	}

	ssize_t rc = read_cb(cb_arg, pod_id, POD_ID_LEN);
	if (rc < 0) {
		return (int)rc;
	}

	loaded = true;
	return 0;
}

SETTINGS_STATIC_HANDLER_DEFINE(pod_id, "kuuki", NULL, pod_id_set, NULL, NULL);

int pod_id_init(void)
{
	int err = settings_subsys_init();
	if (err) {
		LOG_ERR("settings_subsys_init failed (%d)", err);
		return err;
	}

	/* Restores a persisted ID via pod_id_set() if one exists. */
	err = settings_load_subtree("kuuki");
	if (err) {
		LOG_ERR("settings_load_subtree failed (%d)", err);
		return err;
	}

	if (loaded) {
		LOG_INF("Pod ID loaded from flash");
		return 0;
	}

	/* First boot (or reminting after a corrupt store): mint and persist. */
	sys_rand_get(pod_id, POD_ID_LEN);
	loaded = true;

	err = settings_save_one(POD_ID_SETTINGS_KEY, pod_id, POD_ID_LEN);
	if (err) {
		LOG_ERR("Failed to persist minted Pod ID (%d)", err);
		return err;
	}

	LOG_INF("Pod ID minted and persisted");
	return 0;
}

void pod_id_get(uint8_t out[POD_ID_LEN])
{
	memcpy(out, pod_id, POD_ID_LEN);
}
```

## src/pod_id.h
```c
/*
 * Pod ID — a stable random identifier minted once and persisted in flash.
 *
 * SPDX-License-Identifier: Apache-2.0
 *
 * The Pod ID is the one thing (besides any future BLE keys) that must survive a
 * reset: the webapp keys each room's History by it, so a reboot, a re-flash, or
 * a second Pod never cross-contaminates series (CONTEXT.md). Unlike the RAM-only
 * Buffer it lives in flash via the settings subsystem. Minted on first boot from
 * the hardware RNG; loaded verbatim on every boot thereafter. Exposed read-only
 * over the BLE service (ticket 06).
 */

#ifndef KUUKI_POD_ID_H
#define KUUKI_POD_ID_H

#include <stdint.h>

/* Pod ID width, bytes: a 128-bit random value — wide enough that independently
 * minted Pods never collide, and read by the webapp as a stable opaque key. */
#define POD_ID_LEN 16

/*
 * Load the Pod ID from flash, minting and persisting a fresh random one if this
 * is the first boot (no stored ID). Idempotent across the process lifetime: once
 * it returns 0 the ID is available from pod_id_get() and is stable across
 * resets. Returns a negative errno if the settings subsystem or RNG fails.
 */
int pod_id_init(void);

/* Copy the current Pod ID into out. Valid only after pod_id_init() returns 0. */
void pod_id_get(uint8_t out[POD_ID_LEN]);

#endif /* KUUKI_POD_ID_H */
```

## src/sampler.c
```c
/*
 * Sample tick loop — implementation.
 *
 * SPDX-License-Identifier: Apache-2.0
 *
 * See sampler.h for the contract. This is the hardware-facing seam (I²C, the
 * sensor subsystem, timing); the correctness-critical scaling and Buffer logic
 * it calls into (measurement_to_sample(), buffer_put()) and the Live reading
 * packing (live_encode(), via ble_live_update()) are the pure, tested modules.
 * Kept deliberately thin so nothing subtle lives on the untested side.
 */

#include <stdlib.h>

#include <zephyr/kernel.h>
#include <zephyr/device.h>
#include <zephyr/drivers/sensor.h>
#include <zephyr/logging/log.h>

#include "ble.h"
#include "buffer.h"
#include "measurement.h"
#include "sampler.h"

LOG_MODULE_REGISTER(sampler, LOG_LEVEL_INF);

/* The single SCD40 on the I²C bus, resolved from the devicetree at build time. */
static const struct device *const scd40 = DEVICE_DT_GET_ONE(sensirion_scd40);

/*
 * The SCD40 in low-power periodic mode yields its first Measurement ~30 s after
 * start-up and a fresh one every ~30 s thereafter. Wait past that first latency
 * before the first read so the first Live reading and Sample reflect a real
 * Measurement rather than the driver's power-on zero. This is only a promptness
 * aid — the CO₂ == 0 guard in read_measurement() is what actually guarantees no
 * bogus reading is published or stored.
 */
#define SCD40_FIRST_MEASUREMENT_SEC 30

/*
 * How often the sampler wakes to grab a fresh Measurement. Matches the SCD40's
 * ~30 s low-power periodic cadence: each wake refreshes the Live reading, so a
 * client that connects between Sample ticks still sees a near-current reading.
 */
#define MEASUREMENT_INTERVAL_SEC 30

#define SAMPLER_STACK_SIZE 2048
#define SAMPLER_PRIORITY   7

static K_THREAD_STACK_DEFINE(sampler_stack, SAMPLER_STACK_SIZE);
static struct k_thread sampler_thread;

/* The application's long-lived Buffer, borrowed for the sampler's lifetime. */
static struct buffer *target;

/* The Sample tick cadence the application configured (ticket 14b). */
static uint32_t sample_interval;

/*
 * Read the SCD40's latest Measurement into *out. Returns true on a fresh, real
 * Measurement; false (nothing written) when the fetch fails or the sensor has
 * not produced a real Measurement yet, so the caller skips this wake.
 */
static bool read_measurement(struct sample *out)
{
	struct sensor_value co2, temp, humidity;
	int err;

	err = sensor_sample_fetch(scd40);
	if (err) {
		LOG_WRN("SCD40 sample fetch failed (%d); skipping", err);
		return false;
	}

	sensor_channel_get(scd40, SENSOR_CHAN_CO2, &co2);

	/* Until its first Measurement is ready the SCD40 driver reports success
	 * from sample_fetch without refreshing its data, so channel_get hands
	 * back the power-on zero (or, transiently, the previous reading). A real
	 * room is never 0 ppm CO₂, so treat 0 as "no fresh Measurement yet" and
	 * skip rather than publish or store a bogus reading. */
	if (co2.val1 <= 0) {
		LOG_DBG("No fresh Measurement yet; skipping");
		return false;
	}

	sensor_channel_get(scd40, SENSOR_CHAN_AMBIENT_TEMP, &temp);
	sensor_channel_get(scd40, SENSOR_CHAN_HUMIDITY, &humidity);

	uint32_t capture_uptime = (uint32_t)(k_uptime_get() / 1000);
	*out = measurement_to_sample(capture_uptime, &co2, &temp, &humidity);
	return true;
}

static void sampler_run(void *p1, void *p2, void *p3)
{
	ARG_UNUSED(p1);
	ARG_UNUSED(p2);
	ARG_UNUSED(p3);

	/* Let the sensor produce its first Measurement before the first read. */
	k_sleep(K_SECONDS(SCD40_FIRST_MEASUREMENT_SEC));

	/* INT64_MIN forces the first real Measurement to promote to a Sample; the
	 * next promotion is a full Sample interval later. Capture uptime (not a
	 * wake count) gates promotion, so a skipped wake never shifts the tick. */
	int64_t last_sample_uptime = INT64_MIN;

	for (;;) {
		struct sample s;

		if (read_measurement(&s)) {
			/* Refresh the Live reading on every Measurement, so a
			 * client sees "right now" without awaiting a Sample tick. */
			ble_live_update(&s);

			if (last_sample_uptime == INT64_MIN ||
			    (int64_t)s.capture_uptime - last_sample_uptime >=
				    sample_interval) {
				/* No lock: buffer_put() publishes the Sample
				 * with a release store, and a concurrent Sync
				 * walks a frozen prefix behind the ring's
				 * runway (ADR-0005). */
				buffer_put(target, &s);
				last_sample_uptime = s.capture_uptime;

				LOG_INF("Sample @%us: CO2 %u ppm, temp %d.%02d C, "
					"humidity %u.%02u %%",
					s.capture_uptime, s.co2, s.temp / 100,
					abs(s.temp % 100), s.humidity / 100,
					s.humidity % 100);
			}
		}

		k_sleep(K_SECONDS(MEASUREMENT_INTERVAL_SEC));
	}
}

int sampler_start(struct buffer *buf, uint32_t sample_interval_sec)
{
	if (!device_is_ready(scd40)) {
		LOG_ERR("SCD40 not ready; sampling disabled");
		return -ENODEV;
	}

	target = buf;
	sample_interval = sample_interval_sec;
	k_thread_create(&sampler_thread, sampler_stack, SAMPLER_STACK_SIZE,
			sampler_run, NULL, NULL, NULL, SAMPLER_PRIORITY, 0,
			K_NO_WAIT);
	k_thread_name_set(&sampler_thread, "sampler");

	LOG_INF("Sampler started: Measurement every %d s, Sample every %u s",
		MEASUREMENT_INTERVAL_SEC, sample_interval);
	return 0;
}
```
